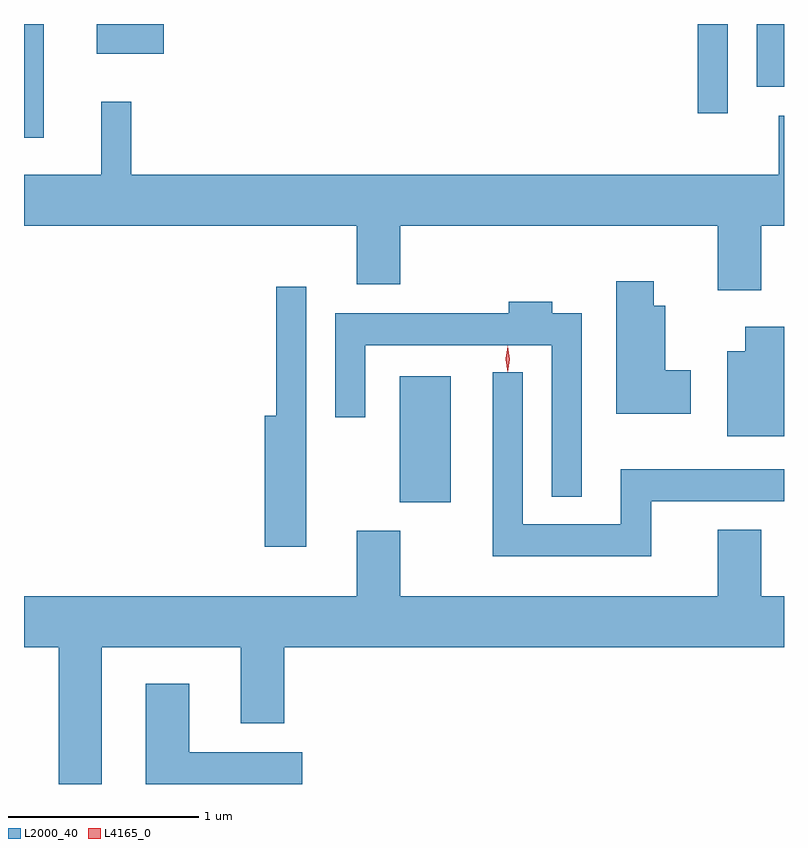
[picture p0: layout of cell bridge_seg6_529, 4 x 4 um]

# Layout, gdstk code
import gdstk
lib = gdstk.Library(unit=1e-6, precision=1e-09)
def R(c, l, rs):  # rectangles x0, y0, x1, y1
    for r in rs: c.add(gdstk.rectangle(r[:2], r[2:], *l))
def P(c, l, *ps):  # polygons
    for p in ps: c.add(gdstk.Polygon(p, *l))
L2000_40 = (2000, 40)
L4165_0 = (4165, 0)

bridge_seg6_529 = lib.new_cell('bridge_seg6_529')
R(bridge_seg6_529, L2000_40, [(500.906,1648.481,501.174,1649.144), (498.929,1650.398,499.034,1650.997), (502.476,1650.528,502.634,1650.997), (502.786,1650.666,502.929,1650.997), (499.311,1650.841,499.664,1650.997)])
P(bridge_seg6_529, L2000_40, [(502.809,1649.936),(502.929,1649.936),(502.929,1650.514),(502.901,1650.514),(502.901,1650.204),(499.494,1650.204),(499.494,1650.588),(499.336,1650.588),(499.336,1650.204),(498.929,1650.204),(498.929,1649.936),(500.681,1649.936),(500.681,1649.626),(500.909,1649.626),(500.909,1649.936),(502.581,1649.936),(502.581,1649.596),(502.809,1649.596)],
  [(502.439,1649.174),(502.304,1649.174),(502.304,1649.514),(502.244,1649.514),(502.244,1649.644),(502.046,1649.644),(502.046,1648.946),(502.439,1648.946)],
  [(500.414,1649.613),(500.256,1649.613),(500.256,1648.934),(500.196,1648.934),(500.196,1648.246),(500.414,1648.246)],
  [(501.864,1649.474),(501.709,1649.474),(501.709,1649.534),(501.481,1649.534),(501.481,1649.474),(500.566,1649.474),(500.566,1648.928),(500.724,1648.928),(500.724,1649.306),(501.706,1649.306),(501.706,1648.508),(501.864,1648.508)],
  [(502.929,1649.404),(502.726,1649.404),(502.726,1649.274),(502.631,1649.274),(502.631,1648.826),(502.929,1648.826)],
  [(502.229,1648.486),(502.929,1648.486),(502.929,1648.654),(502.071,1648.654),(502.071,1648.364),(501.554,1648.364),(501.554,1649.163),(501.396,1649.163),(501.396,1648.196),(502.229,1648.196)],
  [(499.339,1647.716),(500.071,1647.716),(500.071,1647.316),(500.299,1647.316),(500.299,1647.716),(502.929,1647.716),(502.929,1647.984),(502.809,1647.984),(502.809,1648.334),(502.581,1648.334),(502.581,1647.984),(500.909,1647.984),(500.909,1648.329),(500.681,1648.329),(500.681,1647.984),(498.929,1647.984),(498.929,1647.716),(499.111,1647.716),(499.111,1646.997),(499.339,1646.997)],
  [(500.394,1647.164),(499.799,1647.164),(499.799,1647.524),(499.571,1647.524),(499.571,1646.997),(500.394,1646.997)])
P(bridge_seg6_529, L4165_0, [(501.474,1649.164),(501.465,1649.233),(501.474,1649.302),(501.475,1649.303),(501.475,1649.302),(501.485,1649.233),(501.475,1649.164),(501.475,1649.164)],
  [(501.474,1649.167),(501.474,1649.167),(501.464,1649.234),(501.474,1649.3),(501.474,1649.3),(501.475,1649.3),(501.484,1649.234),(501.475,1649.167)])

lib.write_gds('bridge_seg6_529.gds')
